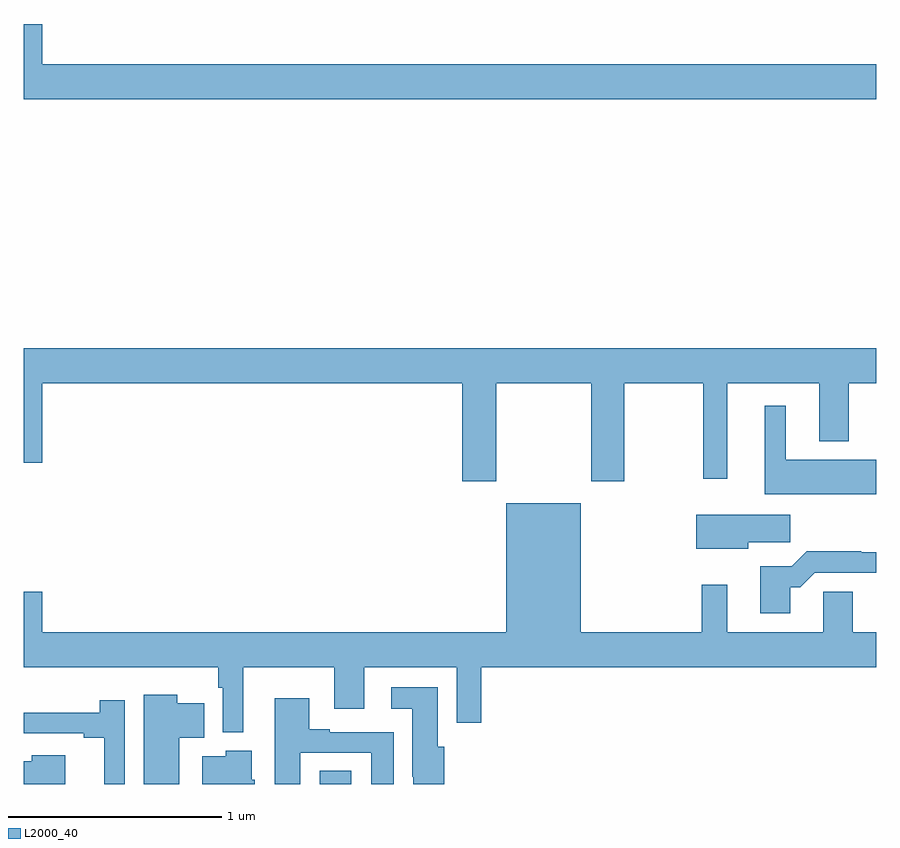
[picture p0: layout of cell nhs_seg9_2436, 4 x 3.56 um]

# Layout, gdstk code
import gdstk
lib = gdstk.Library(unit=1e-6, precision=1e-09)
def R(c, l, rs):  # rectangles x0, y0, x1, y1
    for r in rs: c.add(gdstk.rectangle(r[:2], r[2:], *l))
def P(c, l, *ps):  # polygons
    for p in ps: c.add(gdstk.Polygon(p, *l))
L2000_40 = (2000, 40)

nhs_seg9_2436 = lib.new_cell('nhs_seg9_2436')
R(nhs_seg9_2436, L2000_40, [(250.388,1234.5,250.537,1234.562)])
P(nhs_seg9_2436, L2000_40, [(253,1237.876),(249.088,1237.876),(249.088,1238.065),(249,1238.065),(249,1237.712),(253,1237.712)],
  [(251.217,1236.38),(251.662,1236.38),(251.662,1235.919),(251.817,1235.919),(251.817,1236.38),(252.187,1236.38),(252.187,1235.931),(252.301,1235.931),(252.301,1236.38),(252.731,1236.38),(252.731,1236.107),(252.871,1236.107),(252.871,1236.38),(253,1236.38),(253,1236.544),(249,1236.544),(249,1236.006),(249.088,1236.006),(249.088,1236.38),(251.057,1236.38),(251.057,1235.919),(251.217,1235.919)],
  [(253,1236.022),(252.574,1236.022),(252.574,1236.274),(252.476,1236.274),(252.476,1235.858),(253,1235.858)],
  [(250.03,1235.048),(250.457,1235.048),(250.457,1234.854),(250.597,1234.854),(250.597,1235.048),(251.031,1235.048),(251.031,1234.788),(251.147,1234.788),(251.147,1235.048),(253,1235.048),(253,1235.212),(252.889,1235.212),(252.889,1235.402),(252.75,1235.402),(252.75,1235.212),(252.301,1235.212),(252.301,1235.434),(252.18,1235.434),(252.18,1235.212),(251.614,1235.212),(251.614,1235.818),(251.264,1235.818),(251.264,1235.212),(249.088,1235.212),(249.088,1235.401),(249,1235.401),(249,1235.048),(249.913,1235.048),(249.913,1234.952),(249.933,1234.952),(249.933,1234.742),(250.03,1234.742)],
  [(252.4,1235.635),(252.595,1235.635),(252.595,1235.764),(252.156,1235.764),(252.156,1235.603),(252.4,1235.603)],
  [(252.595,1235.423),(252.644,1235.423),(252.711,1235.49),(253,1235.49),(253,1235.588),(252.929,1235.588),(252.929,1235.591),(252.674,1235.591),(252.604,1235.521),(252.455,1235.521),(252.455,1235.301),(252.595,1235.301)],
  [(250.973,1234.674),(250.942,1234.674),(250.942,1234.954),(250.725,1234.954),(250.725,1234.853),(250.823,1234.853),(250.823,1234.534),(250.827,1234.534),(250.827,1234.5),(250.973,1234.5)],
  [(249.73,1234.718),(249.848,1234.718),(249.848,1234.879),(249.721,1234.879),(249.721,1234.918),(249.563,1234.918),(249.563,1234.5),(249.73,1234.5)],
  [(250.297,1234.647),(250.631,1234.647),(250.631,1234.5),(250.735,1234.5),(250.735,1234.743),(250.435,1234.743),(250.435,1234.756),(250.339,1234.756),(250.339,1234.903),(250.178,1234.903),(250.178,1234.5),(250.297,1234.5)],
  [(249.474,1234.894),(249.358,1234.894),(249.358,1234.835),(249,1234.835),(249,1234.737),(249.281,1234.737),(249.281,1234.717),(249.377,1234.717),(249.377,1234.5),(249.474,1234.5)],
  [(250.084,1234.521),(250.069,1234.521),(250.069,1234.657),(249.948,1234.657),(249.948,1234.63),(249.839,1234.63),(249.839,1234.5),(250.084,1234.5)],
  [(249.196,1234.636),(249.038,1234.636),(249.038,1234.606),(249,1234.606),(249,1234.5),(249.196,1234.5)])

lib.write_gds('nhs_seg9_2436.gds')
